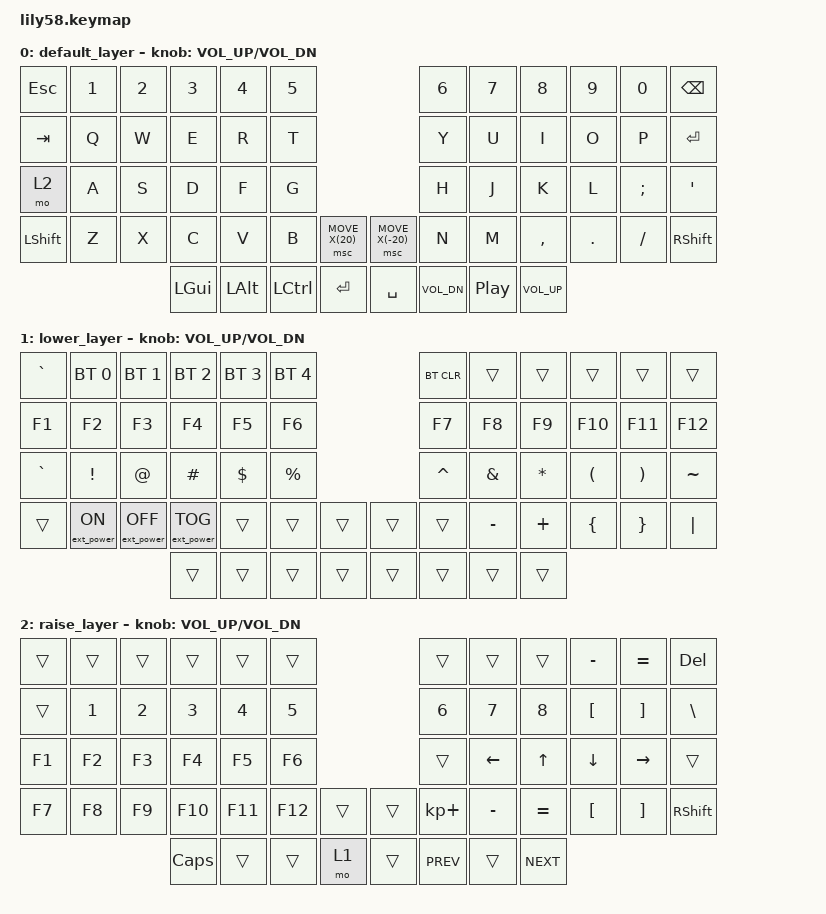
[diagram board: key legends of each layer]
/*
 * Copyright (c) 2020 The ZMK Contributors
 *
 * SPDX-License-Identifier: MIT
 */

#include <behaviors.dtsi>
#include <dt-bindings/zmk/bt.h>
#include <dt-bindings/zmk/ext_power.h>
#include <dt-bindings/zmk/keys.h>
#include <dt-bindings/zmk/pointing.h>

/ {
    keymap {
        compatible = "zmk,keymap";

        default_layer {
            // ------------------------------------------------------------------------------------------------------------
            // |  ESC  |  1  |  2  |  3   |  4   |  5   |                   |  6   |  7    |  8    |  9   |   0   |   `   |
            // |  TAB  |  Q  |  W  |  E   |  R   |  T   |                   |  Y   |  U    |  I    |  O   |   P   |   -   |
            // |  CTRL |  A  |  S  |  D   |  F   |  G   |                   |  H   |  J    |  K    |  L   |   ;   |   '   |
            // | SHIFT |  Z  |  X  |  C   |  V   |  B   |   "["  |  |  "]"  |  N   |  M    |  ,    |  .   |   /   | SHIFT |
            //                     | ALT  | GUI  | LOWER|  SPACE |  | ENTER | RAISE| BSPC  | GUI   |

            bindings = <
&kp ESC    &kp N1  &kp N2  &kp N3        &kp N4        &kp N5                                                 &kp N6        &kp N7            &kp N8           &kp N9   &kp N0    &kp BACKSPACE
&kp TAB    &kp Q   &kp W   &kp E         &kp R         &kp T                                                  &kp Y         &kp U             &kp I            &kp O    &kp P     &kp ENTER
&mo 2      &kp A   &kp S   &kp D         &kp F         &kp G                                                  &kp H         &kp J             &kp K            &kp L    &kp SEMI  &kp SQT
&kp LSHFT  &kp Z   &kp X   &kp C         &kp V         &kp B             &msc MOVE_X(20)    &msc MOVE_X(-20)  &kp N         &kp M             &kp COMMA        &kp DOT  &kp FSLH  &kp RSHFT
                           &kp LEFT_GUI  &kp LEFT_ALT  &kp LEFT_CONTROL  &kp ENTER          &kp SPACE         &kp C_VOL_DN  &kp C_PLAY_PAUSE  &kp C_VOLUME_UP
            >;

            sensor-bindings = <&inc_dec_kp C_VOL_UP C_VOL_DN>;
        };

        lower_layer {
            // ------------------------------------------------------------------------------------------------------------
            // | BTCLR | BT1 | BT2 |  BT3 |  BT4 |  BT5 |                   |      |       |       |      |       |       |
            // |  F1   |  F2 |  F3 |  F4  |  F5  |  F6  |                   |  F7  |  F8   |  F9   |  F10 |  F11  |  F12  |
            // |   `   |  !  |  @  |  #   |  $   |  %   |                   |  ^   |  &    |  *    |  (   |   )   |   ~   |
            // |       |     |     |      |      |      |        |  |       |      |  _    |  +    |  {   |   }   |  "|"  |
            //                     |      |      |      |        |  |       |      |       |       |

            bindings = <
&kp GRAVE  &bt BT_SEL 0      &bt BT_SEL 1       &bt BT_SEL 2       &bt BT_SEL 3  &bt BT_SEL 4                    &bt BT_CLR  &trans     &trans     &trans    &trans    &trans
&kp F1     &kp F2            &kp F3             &kp F4             &kp F5        &kp F6                          &kp F7      &kp F8     &kp F9     &kp F10   &kp F11   &kp F12
&kp GRAVE  &kp EXCL          &kp AT             &kp HASH           &kp DOLLAR    &kp PRCNT                       &kp CARET   &kp AMPS   &kp ASTRK  &kp LPAR  &kp RPAR  &kp TILDE
&trans     &ext_power EP_ON  &ext_power EP_OFF  &ext_power EP_TOG  &trans        &trans        &trans    &trans  &trans      &kp MINUS  &kp PLUS   &kp LBRC  &kp RBRC  &kp PIPE
                                                &trans             &trans        &trans        &trans    &trans  &trans      &trans     &trans
            >;

            sensor-bindings = <&inc_dec_kp C_VOL_UP C_VOL_DN>;
        };

        raise_layer {
            // ------------------------------------------------------------------------------------------------------------
            // |       |     |     |      |      |      |                   |      |       |       |      |       |       |
            // |   `   |  1  |  2  |  3   |  4   |  5   |                   |  6   |   7   |   8   |  9   |   0   |       |
            // |   F1  |  F2 |  F3 |  F4  |  F5  |  F6  |                   |      |   <-  |   v   |  ^   |  ->   |       |
            // |   F7  |  F8 |  F9 |  F10 |  F11 |  F12 |        |  |       |  +   |   -   |   =   |  [   |   ]   |   \   |
            //                     |      |      |      |        |  |       |      |       |       |

            bindings = <
&trans  &trans  &trans  &trans    &trans   &trans                     &trans       &trans     &trans        &kp MINUS         &kp EQUAL          &kp DELETE
&trans  &kp N1  &kp N2  &kp N3    &kp N4   &kp N5                     &kp N6       &kp N7     &kp N8        &kp LEFT_BRACKET  &kp RIGHT_BRACKET  &kp BACKSLASH
&kp F1  &kp F2  &kp F3  &kp F4    &kp F5   &kp F6                     &trans       &kp LEFT   &kp UP_ARROW  &kp DOWN          &kp RIGHT          &trans
&kp F7  &kp F8  &kp F9  &kp F10   &kp F11  &kp F12  &trans    &trans  &kp KP_PLUS  &kp MINUS  &kp EQUAL     &kp LBKT          &kp RBKT           &kp RIGHT_SHIFT
                        &kp CAPS  &trans   &trans   &mo 1     &trans  &kp K_PREV   &trans     &kp K_NEXT
            >;

            sensor-bindings = <&inc_dec_kp C_VOL_UP C_VOL_DN>;
        };
    };
};
